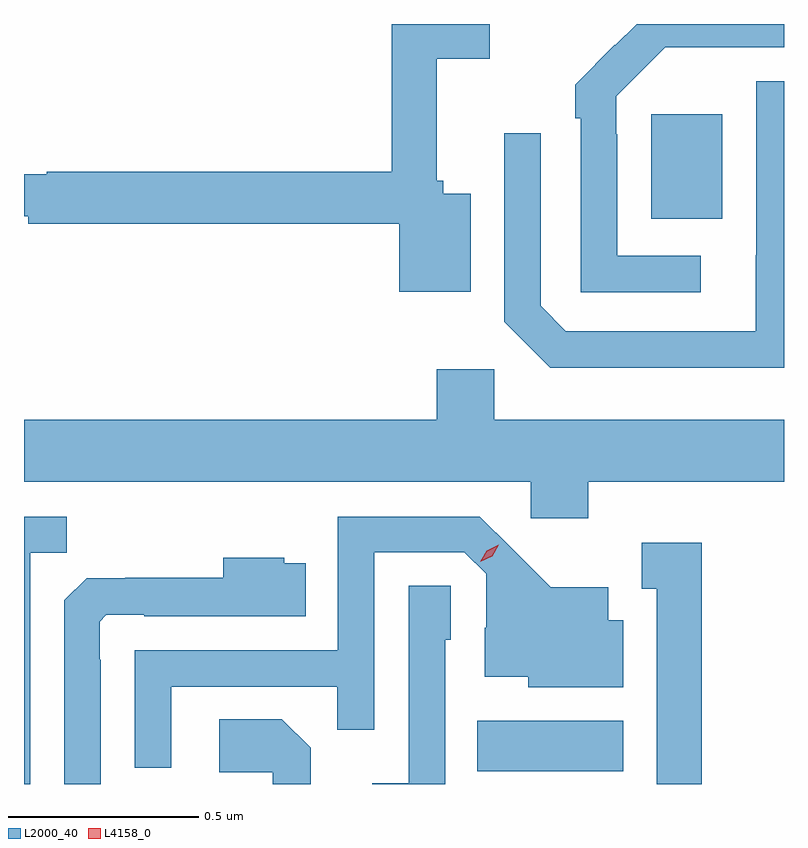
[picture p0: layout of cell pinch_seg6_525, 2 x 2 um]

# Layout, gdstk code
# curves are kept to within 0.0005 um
import gdstk
lib = gdstk.Library(unit=1e-6, precision=1e-09)
def R(c, l, rs):  # rectangles x0, y0, x1, y1
    for r in rs: c.add(gdstk.rectangle(r[:2], r[2:], *l))
def P(c, l, *ps):  # polygons
    for p in ps: c.add(gdstk.Polygon(p, *l))
L2000_40 = (2000, 40)
L4158_0 = (4158, 0)

pinch_seg6_525 = lib.new_cell('pinch_seg6_525')
R(pinch_seg6_525, L2000_40, [(765.85,934.586,766.234,934.72), (766.307,936.041,766.495,936.316)])
P(pinch_seg6_525, L2000_40, [(765.832,936.106),(765.76,936.106),(765.76,936.141),(765.743,936.141),(765.743,936.462),(765.883,936.462),(765.883,936.553),(765.625,936.553),(765.625,936.164),(764.717,936.164),(764.717,936.157),(764.657,936.157),(764.657,936.047),(764.668,936.047),(764.668,936.028),(765.644,936.028),(765.644,935.849),(765.832,935.849)],
  [(766.438,935.943),(766.218,935.943),(766.218,936.263),(766.215,936.263),(766.215,936.363),(766.344,936.492),(766.657,936.492),(766.657,936.553),(766.269,936.553),(766.213,936.497),(766.212,936.498),(766.107,936.393),(766.107,936.305),(766.122,936.305),(766.122,935.847),(766.438,935.847)],
  [(766.657,936.402),(766.584,936.402),(766.584,935.945),(766.583,935.945),(766.583,935.745),(766.083,935.745),(766.017,935.811),(766.017,936.265),(765.921,936.265),(765.921,935.769),(766.042,935.648),(766.657,935.648)],
  [(766.142,935.348),(766.657,935.348),(766.657,935.512),(765.894,935.512),(765.894,935.644),(765.743,935.644),(765.743,935.512),(764.657,935.512),(764.657,935.348),(765.99,935.348),(765.99,935.253),(766.142,935.253)],
  [(765.045,934.809),(765.481,934.809),(765.481,934.696),(765.579,934.696),(765.579,935.163),(765.816,935.163),(765.873,935.106),(765.873,934.964),(765.869,934.964),(765.869,934.835),(765.984,934.835),(765.984,934.808),(766.234,934.808),(766.234,934.984),(766.195,934.984),(766.195,935.071),(766.043,935.071),(765.856,935.256),(765.483,935.256),(765.483,934.905),(764.949,934.905),(764.949,934.596),(765.045,934.596)],
  [(764.673,935.161),(764.769,935.161),(764.769,935.256),(764.657,935.256),(764.657,934.553),(764.673,934.553)],
  [(766.441,935.188),(766.283,935.188),(766.283,935.067),(766.322,935.067),(766.322,934.553),(766.441,934.553)],
  [(764.859,934.88),(764.856,934.88),(764.856,934.98),(764.874,934.998),(764.974,934.998),(764.974,934.995),(765.398,934.995),(765.398,935.134),(765.342,935.134),(765.342,935.149),(765.181,935.149),(765.181,935.096),(764.923,935.096),(764.923,935.095),(764.822,935.095),(764.763,935.036),(764.763,934.553),(764.859,934.553)],
  [(765.765,934.932),(765.78,934.932),(765.78,935.075),(765.669,935.075),(765.669,934.555),(765.573,934.555),(765.573,934.553),(765.765,934.553)],
  [(765.411,934.648),(765.335,934.724),(765.171,934.724),(765.171,934.584),(765.312,934.584),(765.312,934.553),(765.411,934.553)])
P(pinch_seg6_525, L4158_0, [(765.858,935.138),(765.858,935.138),(765.875,935.167),(765.906,935.182),(765.906,935.182),(765.906,935.182),(765.889,935.152),(765.858,935.138)])

lib.write_gds('pinch_seg6_525.gds')
